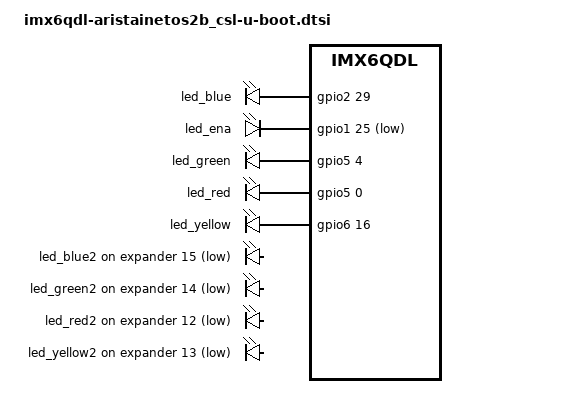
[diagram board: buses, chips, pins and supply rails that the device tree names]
// SPDX-License-Identifier: GPL-2.0+ or X11
/*
 * Copyright (C) 2019 Heiko Schocher <hs@denx.de>
 */

/ {
	chosen {
		u-boot,dm-pre-reloc;
		stdout-path = &uart1;
	};

	leds {
		compatible = "gpio-leds";
		pinctrl-names = "default";
		pinctrl-0 = <&pinctrl_gpio>;

		LED_blue {
			label = "led_blue";
			gpios = <&gpio2 29 GPIO_ACTIVE_HIGH>;
		};

		LED_ena {
			label = "led_ena";
			gpios = <&gpio1 25 GPIO_ACTIVE_LOW>;
		};

		LED_green {
			label = "led_green";
			gpios = <&gpio5 4 GPIO_ACTIVE_HIGH>;
		};

		LED_red {
			label = "led_red";
			gpios = <&gpio5 0 GPIO_ACTIVE_HIGH>;
		};

		LED_yellow {
			label = "led_yellow";
			gpios = <&gpio6 16 GPIO_ACTIVE_HIGH>;
		};

		LED_blue_2 {
			label = "led_blue2";
			gpios = <&expander 15 GPIO_ACTIVE_LOW>;
		};

		LED_green_2 {
			label = "led_green2";
			gpios = <&expander 14 GPIO_ACTIVE_LOW>;
		};

		LED_red_2 {
			label = "led_red2";
			gpios = <&expander 12 GPIO_ACTIVE_LOW>;
		};

		LED_yellow_2 {
			label = "led_yellow2";
			gpios = <&expander 13 GPIO_ACTIVE_LOW>;
		};

	};

	soc {
		aips-bus@2000000 {
			u-boot,dm-spl;
			spba-bus@2000000 {
				u-boot,dm-spl;
			};
		};
	};
};

&backlight {
	pwms = <&pwm1 0 300000>;
	default-brightness-level = <2>;
};

&ecspi1 {
	cs-gpios = <&gpio2 30 GPIO_ACTIVE_LOW
		    &gpio4 10 GPIO_ACTIVE_LOW
		    &gpio4 11 GPIO_ACTIVE_LOW>;
};

&ecspi2 {
	cs-gpios = <&gpio2 26 GPIO_ACTIVE_LOW &gpio2 27 GPIO_ACTIVE_LOW>;
};

&ecspi4 {
	cs-gpios = <&gpio3 29 GPIO_ACTIVE_LOW &gpio5 2 GPIO_ACTIVE_LOW>;
};

&uart1 {
	u-boot,dm-pre-reloc;
};

&pinctrl_gpio {
	u-boot,dm-pre-reloc;
};

&pinctrl_uart1 {
	u-boot,dm-pre-reloc;
};

&iomuxc {
	u-boot,dm-pre-reloc;
};

&aips1 {
	u-boot,dm-pre-reloc;
	spba-bus@2000000 {
		u-boot,dm-pre-reloc;
	};
};
